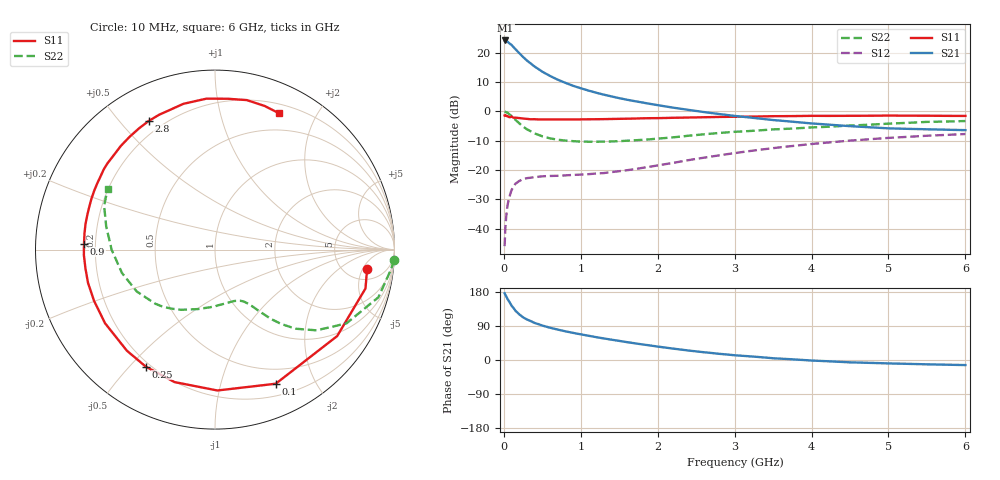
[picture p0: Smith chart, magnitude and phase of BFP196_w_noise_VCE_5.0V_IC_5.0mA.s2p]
! (c) 2017  Infineon Technologies AG, Munich
! Infineon Technologies  Discrete & RF Semiconductors
! BFP196
! VCE =  5.0 V,  IC =  5.0 mA
! Common Emitter S-Parameters:  Jan 2017
# GHz  S  MA  R  50
!  f  S11  S21  S12  S22
! GHz  MAG  ANG  MAG  ANG  MAG  ANG  MAG  ANG
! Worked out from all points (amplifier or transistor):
!   77 points, 10 MHz to 6 GHz, reference 50 ohm
!   highest |S21| = 24.3 dB at 20 MHz (marker M1)
!   |S21| within 3 dB of that: start of sweep to 151.9 MHz
!   unconditionally stable (mu >= 1): 1.192 GHz to 2.356 GHz
!   at 130 MHz: K = 0.14, MSG = 23.7 dB, |S12| = -25.5 dB
!   at 2.2 GHz: K = 1.04, MAG = 8.2 dB, |S12| = -17.6 dB
!   at 6 GHz: K = 0.95, MSG = 0.7 dB, |S12| = -7.7 dB
!   lowest NFmin = 1.01 dB at 450 MHz
!   S11 on the Smith chart (normalised r, x): 10 MHz: 7.62, -6.21; 100 MHz: 0.33, -1.50; 250 MHz: 0.18, -0.56; 900 MHz: 0.16, +0.02; 2.8 GHz: 0.15, +0.60; 6 GHz: 0.30, +1.53
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0.01  0.8544 -7.4  16.2 176.1  0.005 87.6  1 -3.3
0.02  0.8659 -14.5  16.34 172.1  0.0105 88.1  0.9849 -6.8
0.05  0.8339 -35.3  15.52 160.2  0.0259 71.9  0.9482 -16.3
0.1  0.8203 -65.6  13.72 143.5  0.0454 58.3  0.8399 -29.3
0.15  0.7851 -89.0  11.64 130.3  0.0582 47.3  0.7226 -38.5
0.2  0.7718 -107.0  9.935 120.6  0.065 40.4  0.6288 -44.5
0.25  0.7575 -120.6  8.531 112.6  0.0698 35.3  0.5535 -48.4
0.3  0.7472 -131.1  7.41 106.9  0.0726 31.5  0.4962 -51.1
0.4  0.7373 -146.2  5.846 97.7  0.0755 27.4  0.4215 -54.4
0.5  0.7318 -157.1  4.781 90.9  0.078 25.9  0.3764 -56.8
0.6  0.7314 -165.3  4.049 85.2  0.0791 25.6  0.3473 -59.1
0.7  0.7294 -171.8  3.494 80.3  0.0797 26.2  0.3296 -61.1
0.9  0.7306 177.4  2.748 71.6  0.0825 28.5  0.3113 -66.5
1.1  0.7355 168.7  2.275 64.0  0.0849 31.8  0.3045 -72.5
1.3  0.7401 161.1  1.938 56.9  0.0887 35.8  0.3054 -79.4
1.5  0.7486 154.1  1.689 50.4  0.0954 39.9  0.3109 -86.9
2.1  0.774 135.2  1.221 32.8  0.126 48.1  0.352 -109.3
2.8  0.8063 117.3  0.904 16.3  0.178 48.9  0.4299 -132.0
3.1  0.8145 110.5  0.814 11.1  0.2027 46.8  0.456 -140.9
4.1  0.8413 91.6  0.612 -2.3  0.2858 36.3  0.5401 -168.9
5.1  0.8496 76.6  0.511 -9.5  0.3595 22.7  0.6271 166.0
6  0.8391 64.8  0.48 -13.4  0.4118 10.6  0.6866 150.7
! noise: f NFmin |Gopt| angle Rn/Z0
0.45  1.01  0.42  127  0.08
0.9  1.47  0.55  170  0.06
1.9  2.9  0.74  -142  0.31
2.4  3.55  0.76  -125  0.95
